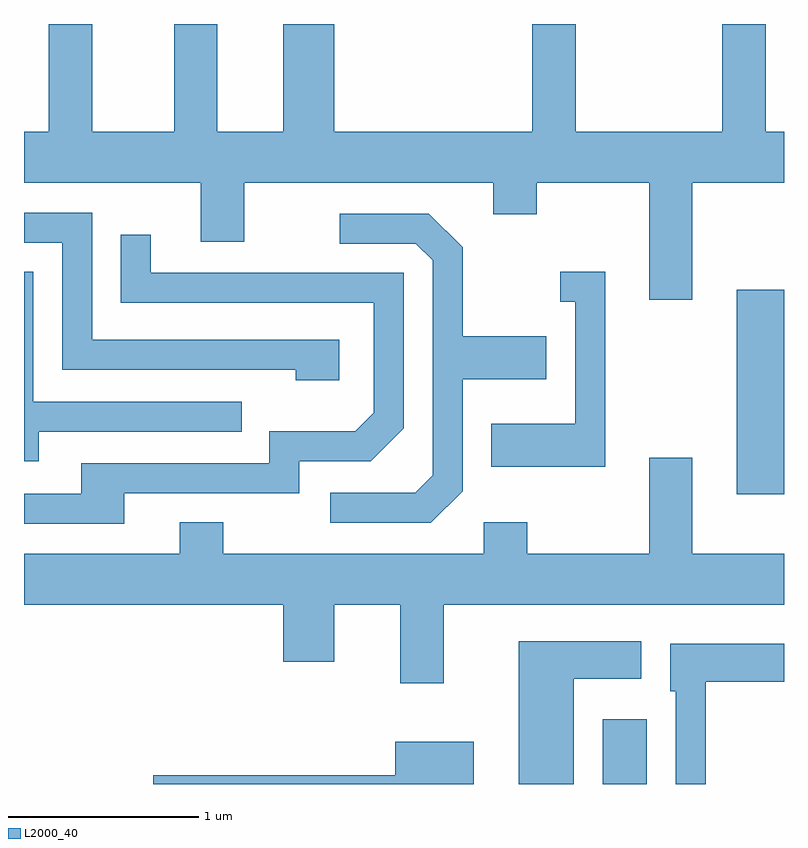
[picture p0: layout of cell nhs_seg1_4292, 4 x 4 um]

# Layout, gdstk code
import gdstk
lib = gdstk.Library(unit=1e-6, precision=1e-09)
def R(c, l, rs):  # rectangles x0, y0, x1, y1
    for r in rs: c.add(gdstk.rectangle(r[:2], r[2:], *l))
def P(c, l, *ps):  # polygons
    for p in ps: c.add(gdstk.Polygon(p, *l))
L2000_40 = (2000, 40)

nhs_seg1_4292 = lib.new_cell('nhs_seg1_4292')
R(nhs_seg1_4292, L2000_40, [(316.656,929.712,316.889,930.054), (317.361,931.236,317.611,932.314)])
P(nhs_seg1_4292, L2000_40, [(317.129,932.876),(317.611,932.876),(317.611,933.144),(317.514,933.144),(317.514,933.712),(317.286,933.712),(317.286,933.144),(316.514,933.144),(316.514,933.712),(316.286,933.712),(316.286,933.144),(315.244,933.144),(315.244,933.712),(314.976,933.712),(314.976,933.144),(314.629,933.144),(314.629,933.712),(314.401,933.712),(314.401,933.144),(313.969,933.144),(313.969,933.712),(313.741,933.712),(313.741,933.144),(313.611,933.144),(313.611,932.876),(314.541,932.876),(314.541,932.566),(314.769,932.566),(314.769,932.876),(316.081,932.876),(316.081,932.711),(316.309,932.711),(316.309,932.876),(316.901,932.876),(316.901,932.261),(317.129,932.261)],
  [(315.269,932.049),(313.969,932.049),(313.969,932.719),(313.611,932.719),(313.611,932.561),(313.811,932.561),(313.811,931.891),(315.041,931.891),(315.041,931.836),(315.269,931.836)],
  [(315.919,931.254),(315.919,931.841),(316.359,931.841),(316.359,932.069),(315.919,932.069),(315.919,932.537),(315.742,932.714),(315.273,932.714),(315.273,932.556),(315.674,932.556),(315.761,932.469),(315.761,931.337),(315.669,931.244),(315.223,931.244),(315.223,931.086),(315.752,931.086)],
  [(314.139,931.241),(315.059,931.241),(315.059,931.411),(315.437,931.411),(315.609,931.584),(315.609,932.404),(314.279,932.404),(314.279,932.603),(314.121,932.603),(314.121,932.246),(315.451,932.246),(315.451,931.667),(315.354,931.569),(314.901,931.569),(314.901,931.399),(313.911,931.399),(313.911,931.239),(313.611,931.239),(313.611,931.081),(314.139,931.081)],
  [(316.669,932.409),(316.433,932.409),(316.433,932.251),(316.511,932.251),(316.511,931.609),(316.071,931.609),(316.071,931.381),(316.669,931.381)],
  [(313.689,931.566),(314.758,931.566),(314.758,931.724),(313.659,931.724),(313.659,932.409),(313.611,932.409),(313.611,931.411),(313.689,931.411)],
  [(315.819,930.656),(317.611,930.656),(317.611,930.924),(317.129,930.924),(317.129,931.429),(316.901,931.429),(316.901,930.924),(316.259,930.924),(316.259,931.089),(316.031,931.089),(316.031,930.924),(314.659,930.924),(314.659,931.089),(314.431,931.089),(314.431,930.924),(313.611,930.924),(313.611,930.656),(314.976,930.656),(314.976,930.356),(315.244,930.356),(315.244,930.656),(315.591,930.656),(315.591,930.241),(315.819,930.241)],
  [(316.504,930.266),(316.859,930.266),(316.859,930.464),(316.216,930.464),(316.216,929.712),(316.504,929.712)],
  [(317.199,930.251),(317.611,930.251),(317.611,930.449),(317.011,930.449),(317.011,930.201),(317.041,930.201),(317.041,929.712),(317.199,929.712)],
  [(315.979,929.934),(315.566,929.934),(315.566,929.759),(314.291,929.759),(314.291,929.712),(315.979,929.712)])

lib.write_gds('nhs_seg1_4292.gds')
